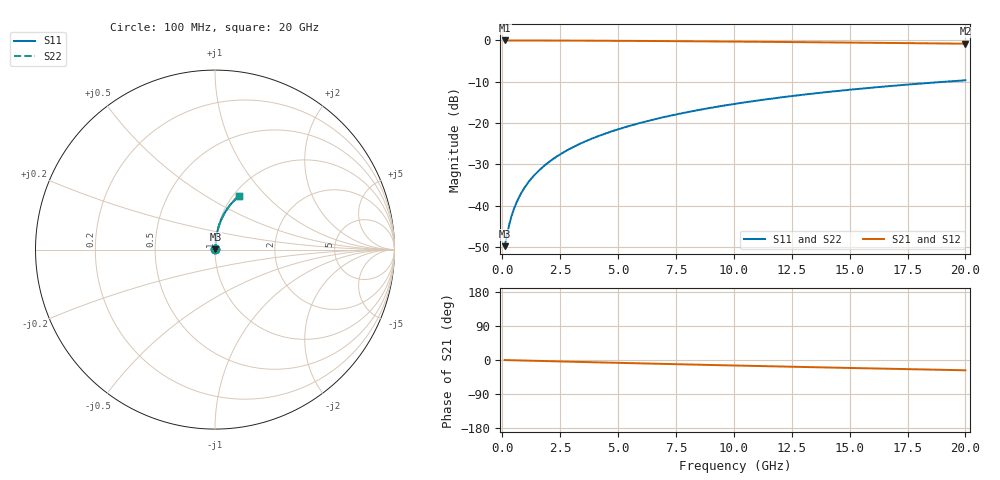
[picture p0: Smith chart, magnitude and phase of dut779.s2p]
! Touchstone file exported from HFSS 2024.1.0
!  File:  C:/UserFiles/LocalFiles/RDL_TSV_Batchsim/temp_RDL_bottom_779_1779860964.aedt
!  Generated:  01:52:16 PM May 27, 2026
!  Design:  RDL_bottom
!  Project:  temp_RDL_bottom_779_1779860964
!  Setup:  Setup1
!  Solution:  Sweep
! Variables:
!  dtsv = 10.80580581um
!  hbump = 3um
!  htsv = 94.26um
!  ldown = 301.17um
!  lrdl = 100um
!  p = 40
!  p1 = 55.44um
!  rhole = 1um
!  t = 450um
!  tdown = 2.65um
!  trdl = 3.915915916um
!  wdown = 16.14um
!  wrdl = 20um
# GHz S MA R 50.000000
! Terminal data exported
! Port[1] = RDL1_T1
! Port[2] = RDL1_T2
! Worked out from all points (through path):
!   200 points, 100 MHz to 20 GHz, reference 50 ohm
!   highest |S21| = -0.02 dB at 100 MHz (marker M1); lowest = -0.8 dB at 20 GHz (marker M2)
!   group delay of S21, straight-line fit = 3.76 ps
!   lowest |S11| = -49.8 dB at 100 MHz (marker M3), VSWR 1.01, Z = 50.3 + j0.175 ohm
!   |S11| at or under -10 dB: start of sweep to 19.15 GHz
!   |S22| runs from -49.8 to -9.7 dB; largest |S21 - S12| = 2.7e-15
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0.1  0.003234 32.6  0.9973 -0.2  0.9973 -0.2  0.003234 32.6
! Gamma 0 0 0 0
! Port Impedance 50 0 50 0
0.2  0.00444 51.4  0.9972 -0.3  0.9972 -0.3  0.00444 51.4
0.3  0.005908 61.3  0.9971 -0.5  0.9971 -0.5  0.005908 61.3
0.4  0.007469 67.1  0.9971 -0.6  0.9971 -0.6  0.007469 67.1
0.5  0.009064 70.7  0.997 -0.8  0.997 -0.8  0.009064 70.7
0.6  0.01067 73.3  0.9969 -0.9  0.9969 -0.9  0.01067 73.3
0.8  0.0139 76.5  0.9967 -1.2  0.9967 -1.2  0.0139 76.5
1.1  0.01876 79.3  0.9963 -1.7  0.9963 -1.7  0.01876 79.3
1.5  0.02529 81.4  0.9959 -2.3  0.9959 -2.3  0.02529 81.4
1.8  0.03021 82.3  0.9955 -2.8  0.9955 -2.8  0.03021 82.3
2.1  0.03515 82.9  0.995 -3.2  0.995 -3.2  0.03515 82.9
2.7  0.0451 83.5  0.9939 -4.1  0.9939 -4.1  0.0451 83.5
3.5  0.05849 83.7  0.992 -5.3  0.992 -5.3  0.05849 83.7
4.2  0.0703 83.6  0.9901 -6.3  0.9901 -6.3  0.0703 83.6
5  0.0839 83.2  0.9876 -7.5  0.9876 -7.5  0.0839 83.2
5.9  0.0993 82.5  0.9844 -8.8  0.9844 -8.8  0.0993 82.5
6.8  0.1148 81.7  0.9809 -10.1  0.9809 -10.1  0.1148 81.7
8.4  0.1423 80.1  0.9741 -12.3  0.9741 -12.3  0.1423 80.1
10.1  0.1715 78.1  0.9661 -14.6  0.9661 -14.6  0.1715 78.1
13.4  0.2267 74.1  0.9492 -19.0  0.9492 -19.0  0.2267 74.0
16.7  0.2794 69.9  0.9306 -23.1  0.9306 -23.1  0.2793 69.9
20  0.3286 65.8  0.911 -27.1  0.911 -27.1  0.3286 65.8
